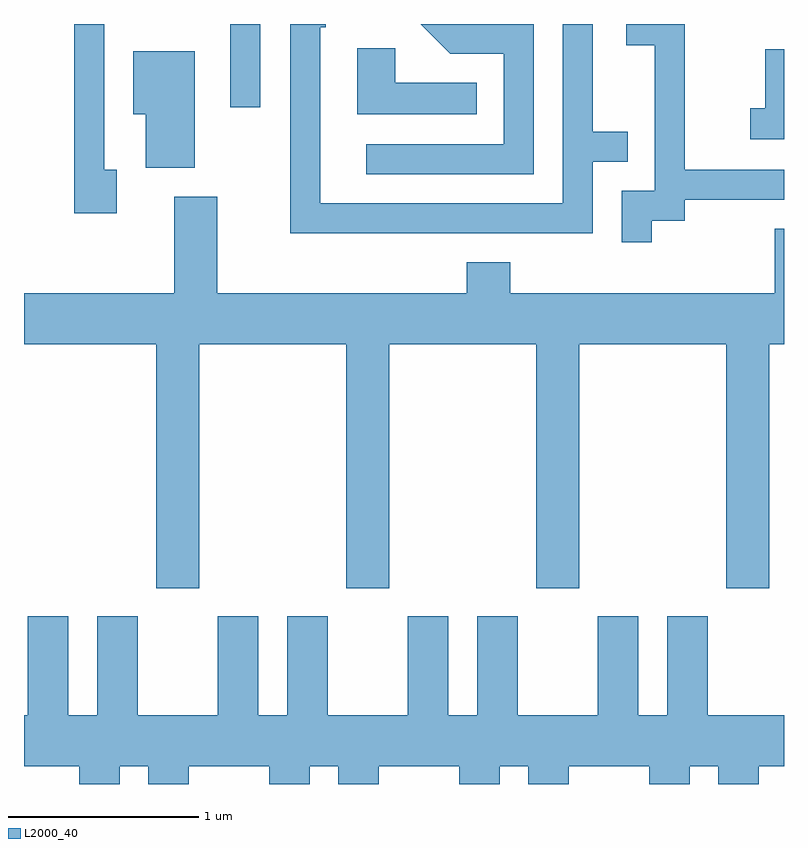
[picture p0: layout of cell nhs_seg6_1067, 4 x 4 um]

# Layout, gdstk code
import gdstk
lib = gdstk.Library(unit=1e-6, precision=1e-09)
def R(c, l, rs):  # rectangles x0, y0, x1, y1
    for r in rs: c.add(gdstk.rectangle(r[:2], r[2:], *l))
def P(c, l, *ps):  # polygons
    for p in ps: c.add(gdstk.Polygon(p, *l))
L2000_40 = (2000, 40)

nhs_seg6_1067 = lib.new_cell('nhs_seg6_1067')
R(nhs_seg6_1067, L2000_40, [(218.696,1555.723,218.854,1556.162)])
P(nhs_seg6_1067, L2000_40, [(220.604,1555.436),(220.788,1555.436),(220.788,1555.594),(220.604,1555.594),(220.604,1556.162),(220.446,1556.162),(220.446,1555.219),(219.169,1555.219),(219.169,1556.146),(219.199,1556.146),(219.199,1556.162),(219.011,1556.162),(219.011,1555.061),(220.604,1555.061)],
  [(220.294,1556.162),(219.698,1556.162),(219.854,1556.006),(220.136,1556.006),(220.136,1555.529),(219.413,1555.529),(219.413,1555.371),(220.294,1555.371)],
  [(220.914,1555.126),(221.089,1555.126),(221.089,1555.236),(221.611,1555.236),(221.611,1555.394),(221.089,1555.394),(221.089,1556.162),(220.781,1556.162),(220.781,1556.051),(220.931,1556.051),(220.931,1555.284),(220.756,1555.284),(220.756,1555.013),(220.914,1555.013)],
  [(218.099,1555.394),(218.034,1555.394),(218.034,1556.162),(217.876,1556.162),(217.876,1555.166),(218.099,1555.166)],
  [(219.993,1555.854),(219.564,1555.854),(219.564,1556.034),(219.366,1556.034),(219.366,1555.686),(219.993,1555.686)],
  [(221.611,1556.029),(221.511,1556.029),(221.511,1555.719),(221.433,1555.719),(221.433,1555.556),(221.611,1555.556)],
  [(218.509,1556.019),(218.186,1556.019),(218.186,1555.686),(218.251,1555.686),(218.251,1555.406),(218.509,1555.406)],
  [(218.534,1554.476),(219.306,1554.476),(219.306,1553.191),(219.534,1553.191),(219.534,1554.476),(220.306,1554.476),(220.306,1553.191),(220.534,1553.191),(220.534,1554.476),(221.306,1554.476),(221.306,1553.191),(221.534,1553.191),(221.534,1554.476),(221.611,1554.476),(221.611,1555.084),(221.561,1555.084),(221.561,1554.744),(220.169,1554.744),(220.169,1554.909),(219.941,1554.909),(219.941,1554.744),(218.629,1554.744),(218.629,1555.254),(218.401,1555.254),(218.401,1554.744),(217.611,1554.744),(217.611,1554.476),(218.306,1554.476),(218.306,1553.191),(218.534,1553.191)],
  [(218.266,1552.162),(218.479,1552.162),(218.479,1552.256),(218.901,1552.256),(218.901,1552.162),(219.114,1552.162),(219.114,1552.256),(219.266,1552.256),(219.266,1552.162),(219.479,1552.162),(219.479,1552.256),(219.901,1552.256),(219.901,1552.162),(220.114,1552.162),(220.114,1552.256),(220.266,1552.256),(220.266,1552.162),(220.479,1552.162),(220.479,1552.256),(220.901,1552.256),(220.901,1552.162),(221.114,1552.162),(221.114,1552.256),(221.266,1552.256),(221.266,1552.162),(221.479,1552.162),(221.479,1552.256),(221.611,1552.256),(221.611,1552.524),(221.209,1552.524),(221.209,1553.044),(220.996,1553.044),(220.996,1552.524),(220.844,1552.524),(220.844,1553.044),(220.631,1553.044),(220.631,1552.524),(220.209,1552.524),(220.209,1553.044),(219.996,1553.044),(219.996,1552.524),(219.844,1552.524),(219.844,1553.044),(219.631,1553.044),(219.631,1552.524),(219.209,1552.524),(219.209,1553.044),(218.996,1553.044),(218.996,1552.524),(218.844,1552.524),(218.844,1553.044),(218.631,1553.044),(218.631,1552.524),(218.209,1552.524),(218.209,1553.044),(217.996,1553.044),(217.996,1552.524),(217.844,1552.524),(217.844,1553.044),(217.631,1553.044),(217.631,1552.524),(217.611,1552.524),(217.611,1552.256),(217.901,1552.256),(217.901,1552.162),(218.114,1552.162),(218.114,1552.256),(218.266,1552.256)])

lib.write_gds('nhs_seg6_1067.gds')
